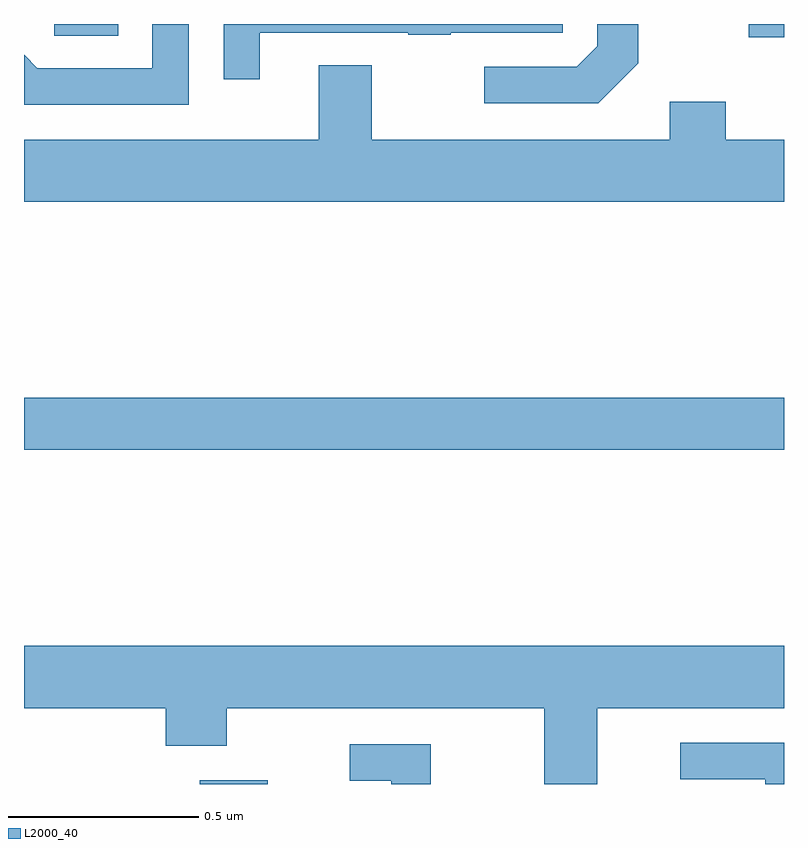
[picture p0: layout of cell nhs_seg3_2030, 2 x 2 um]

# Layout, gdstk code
import gdstk
lib = gdstk.Library(unit=1e-6, precision=1e-09)
def R(c, l, rs):  # rectangles x0, y0, x1, y1
    for r in rs: c.add(gdstk.rectangle(r[:2], r[2:], *l))
def P(c, l, *ps):  # polygons
    for p in ps: c.add(gdstk.Polygon(p, *l))
L2000_40 = (2000, 40)

nhs_seg3_2030 = lib.new_cell('nhs_seg3_2030')
R(nhs_seg3_2030, L2000_40, [(136.463,683.4,136.642,683.41), (136,684.28,138,684.416), (137.907,685.365,138,685.4), (136.08,685.369,136.248,685.4)])
P(nhs_seg3_2030, L2000_40, [(136.621,685.377),(137.011,685.377),(137.011,685.372),(137.123,685.372),(137.123,685.377),(137.418,685.377),(137.418,685.4),(136.525,685.4),(136.525,685.254),(136.621,685.254)],
  [(137.617,685.297),(137.617,685.4),(137.508,685.4),(137.508,685.341),(137.454,685.287),(137.211,685.287),(137.211,685.191),(137.511,685.191)],
  [(136.434,685.4),(136.338,685.4),(136.338,685.284),(136.035,685.284),(136,685.319),(136,685.188),(136.434,685.188)],
  [(138,685.096),(137.847,685.096),(137.847,685.195),(137.699,685.195),(137.699,685.096),(136.915,685.096),(136.915,685.291),(136.775,685.291),(136.775,685.096),(136,685.096),(136,684.932),(138,684.932)],
  [(137.509,683.6),(138,683.6),(138,683.764),(136,683.764),(136,683.6),(136.373,683.6),(136.373,683.501),(136.533,683.501),(136.533,683.6),(137.369,683.6),(137.369,683.4),(137.509,683.4)],
  [(138,683.508),(137.727,683.508),(137.727,683.412),(137.951,683.412),(137.951,683.4),(138,683.4)],
  [(137.071,683.505),(136.857,683.505),(136.857,683.409),(136.967,683.409),(136.967,683.4),(137.071,683.4)])

lib.write_gds('nhs_seg3_2030.gds')
